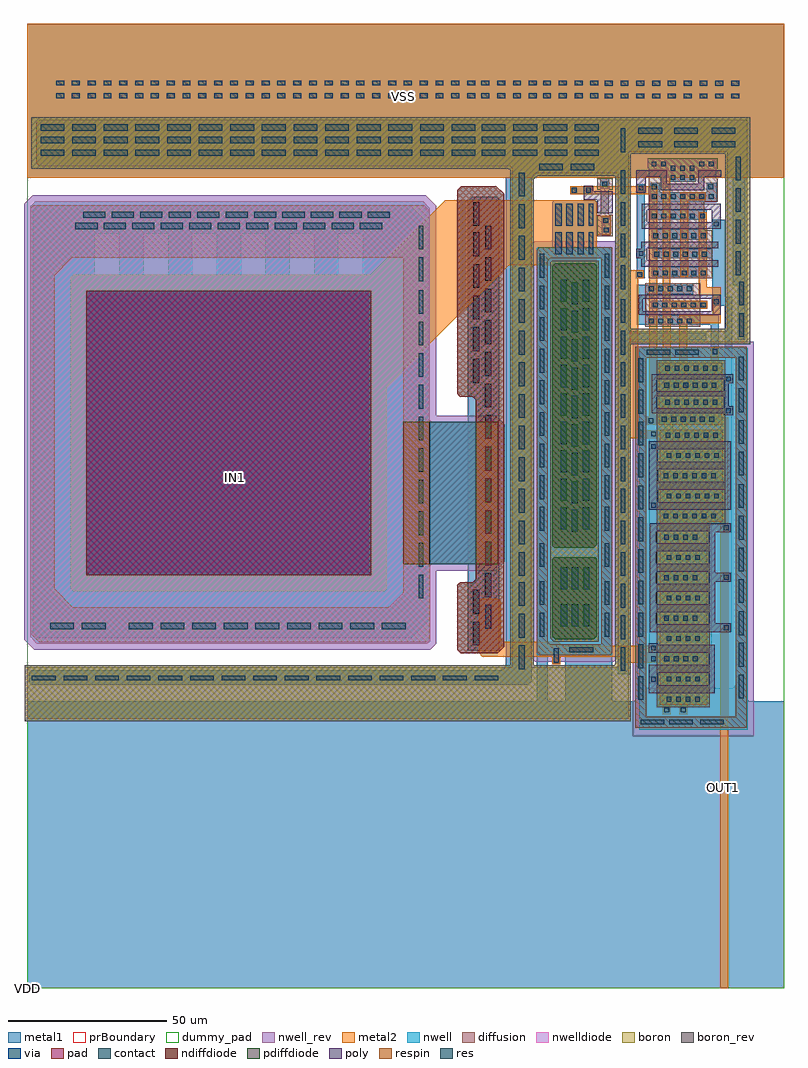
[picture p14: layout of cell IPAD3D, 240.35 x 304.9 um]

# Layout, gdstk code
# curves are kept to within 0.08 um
import gdstk
lib = gdstk.Library(unit=1e-6, precision=1e-09)
def R(c, l, rs):  # rectangles x0, y0, x1, y1
    for r in rs: c.add(gdstk.rectangle(r[:2], r[2:], *l))
def A(c, l, x, y, w, h, nx, ny, dx, dy):  # array of equal rectangles
    R(c, l, [(x+i*dx, y+j*dy, x+i*dx+w, y+j*dy+h) for i in range(nx) for j in range(ny)])
def P(c, l, *ps):  # polygons
    for p in ps: c.add(gdstk.Polygon(p, *l))
nwell = (1, 0)
diffusion = (2, 0)
nwell_rev = (3, 0)
poly = (4, 0)
boron = (5, 0)
boron_rev = (6, 0)
contact = (7, 0)
metal1 = (8, 0)
via = (9, 0)
metal2 = (10, 0)
pad = (11, 0)
prBoundary = (28, 0)
res = (35, 0)
respin = (36, 0)
pdiffdiode = (37, 0)
nwelldiode = (38, 0)
ndiffdiode = (39, 0)
dummy_pad = (40, 0)

ipad3d = lib.new_cell('IPAD3D')
R(ipad3d, nwell, [(193.6,81.65,227.9,202.35)])
P(ipad3d, nwell, [(161.5,105.25),(161.15,105.6),(161.15,233.95),(161.45,234.25),(185,234.25),(185.15,234.1),(185.15,105.6),(184.8,105.25)],
  [(3.15,108.95),(1.05,111.05),(1.05,247.25),(2.6,248.8),(125.25,248.8),(127.4,246.65),(127.4,179.652),(128.002,179.05),(147.45,179.05),(149.1,177.4),(149.1,135.7),(147.45,134.05),(128.058,134.05),(127.45,133.442),(127.45,109.75),(126.65,108.95)])
R(ipad3d, diffusion, [(199.8,178.1,219.8,197.8), (195.45,209.2,212.95,222.9)])
P(ipad3d, diffusion, [(200.1,89.6),(200.1,176.6),(220.1,176.6),(220.1,147.5),(215.1,147.5),(215.1,89.6)],
  [(162.101,105.25),(161.15,106.201),(161.15,233.344),(162.056,234.25),(181.65,234.25),(181.65,230.75),(165.536,230.75),(164.65,229.864),(164.65,109.515),(165.415,108.75),(181.395,108.75),(181.65,109.005),(181.65,234.25),(184.95,234.25),(185.15,234.05),(185.15,106.052),(184.348,105.25)],
  [(3.95,109.3),(1.05,112.2),(1.05,246.563),(2.037,247.55),(119,247.55),(119,231),(14.214,231),(8.7,225.486),(8.7,126.204),(14.404,120.5),(114.449,120.5),(119,125.051),(119,247.55),(125.563,247.55),(127.35,245.763),(127.35,109.952),(126.698,109.3)],
  [(137.101,105.95),(136.1,106.951),(136.1,127.549),(136.951,128.4),(140.987,128.4),(141.85,129.263),(141.85,185.999),(140.849,187),(136.906,187),(136,187.906),(136,252.285),(137.365,253.65),(148.4,253.65),(150.9,251.15),(150.9,108.002),(148.848,105.95)],
  [(192.35,82.35),(192.35,202.8),(224.15,202.8),(224.15,199.3),(195.85,199.3),(195.85,85.85),(224.15,85.85),(224.15,202.8),(227.65,202.8),(227.65,82.35)],
  [(0,85.15),(0,101.45),(153.45,101.45),(153.45,259.248),(152.848,259.85),(3.814,259.85),(2.85,260.814),(2.85,273.45),(4.05,274.65),(186.75,274.65),(186.75,257.65),(160.704,257.65),(159.55,256.496),(159.552,101.45),(186.295,101.45),(186.75,101.905),(186.75,274.65),(221.5,274.65),(221.5,264.55),(190.25,264.55),(190.25,207.7),(221.5,207.7),(221.5,274.65),(227.8,274.65),(227.8,204.3),(190.25,204.3),(190.25,85.15)],
  [(167.105,110.25),(166.15,111.205),(166.15,135.6),(166.8,136.25),(179.65,136.25),(180.15,135.75),(180.15,111.15),(179.25,110.25)],
  [(166.752,139.25),(166.15,139.852),(166.15,228.35),(167.05,229.25),(179.448,229.25),(180.15,228.548),(180.15,140.156),(179.244,139.25)],
  [(196.65,224.4),(196.65,259.25),(196.25,259.25),(196.25,262.35),(218.45,262.35),(218.45,259.15),(217.95,259.15),(217.95,255.9),(218.45,255.9),(218.45,248.6),(214.15,248.6),(214.15,239.7),(216.65,239.7),(216.65,224.4)],
  [(180.3,237.75),(180.3,244.5),(181.5,244.5),(181.5,252.5),(180.3,252.5),(180.3,256.05),(185.2,256.05),(185.2,252.5),(184,252.5),(184,244.5),(185.2,244.5),(185.2,237.75)])
R(ipad3d, nwell_rev, [(191.6,79.65,229.9,204.35)])
P(ipad3d, nwell_rev, [(160.672,103.25),(159.15,104.772),(159.15,234.778),(160.622,236.25),(185.828,236.25),(187.15,234.928),(187.15,104.772),(185.628,103.25)],
  [(2.322,106.95),(-0.95,110.222),(-0.95,248.078),(1.772,250.8),(126.078,250.8),(129.4,247.478),(129.4,181.05),(148.278,181.05),(151.1,178.228),(151.1,134.872),(148.278,132.05),(129.45,132.05),(129.45,108.922),(127.478,106.95)])
P(ipad3d, poly, [(197,112.5),(197,147),(215.6,147),(215.6,144.5),(199.05,144.5),(199.05,140.6),(215.6,140.6),(215.6,138.1),(199.05,138.1),(199.05,134.2),(215.6,134.2),(215.6,131.7),(199.05,131.7),(199.05,127.8),(215.6,127.8),(215.6,125.3),(199.05,125.3),(199.05,121.4),(215.6,121.4),(215.6,118.9),(199.05,118.9),(199.05,115),(215.6,115),(215.6,147),(222.6,147),(222.6,144.1),(217.6,144.1),(217.6,131.35),(222.6,131.35),(222.6,128.45),(217.6,128.45),(217.6,115.4),(222.6,115.4),(222.6,112.5)],
  [(196.6,93.3),(196.6,102.2),(215.6,102.2),(215.6,99.7),(199.6,99.7),(199.6,95.8),(215.6,95.8),(215.6,106.1),(196.65,106.1),(196.65,109),(199.55,109),(199.55,108.6),(217.5,108.6),(217.5,93.3)],
  [(220.4,181.1),(220.4,181.8),(197.55,181.8),(197.55,194.1),(220.4,194.1),(220.4,192.6),(199.1,192.6),(199.1,188.7),(220.4,188.7),(220.4,187.2),(199.1,187.2),(199.1,183.3),(220.4,183.3),(220.4,194.1),(223.3,194.1),(223.3,191.2),(221.9,191.2),(221.9,184),(223.3,184),(223.3,181.1)],
  [(196.65,151.2),(196.65,172.9),(220.6,172.9),(220.6,170.4),(199.55,170.4),(199.55,166.5),(220.6,166.5),(220.6,164),(199.6,164),(199.6,160.1),(220.6,160.1),(220.6,157.6),(199.6,157.6),(199.6,153.7),(220.6,153.7),(220.6,172.9),(222.6,172.9),(222.6,151.2)],
  [(193.4,212.9),(193.4,219.2),(216.5,219.2),(216.5,218),(194.75,218),(194.75,214.1),(216.5,214.1),(216.5,219.2),(219.4,219.2),(219.4,212.9)],
  [(180.3,245),(180.3,249.3),(176.1,249.3),(176.1,253.8),(179,253.8),(179,252),(185.2,252),(185.2,245)],
  [(192.7,251.55),(192.7,258.65),(202.35,258.65),(202.35,254.3),(212.25,254.3),(212.25,258.65),(219.6,258.65),(219.6,256.65),(214.25,256.65),(214.25,252.3),(200.35,252.3),(200.35,256.65),(195.6,256.65),(195.6,251.55)],
  [(194.45,240.2),(194.45,248.1),(216.5,248.1),(216.5,246.1),(196.15,246.1),(196.15,242.2),(216.5,242.2),(216.5,248.1),(219.4,248.1),(219.4,240.2)],
  [(194.3,228.1),(194.3,230.85),(192.7,230.85),(192.7,233.75),(194.3,233.75),(194.3,236),(218.55,236),(218.55,234),(196.15,234),(196.15,230.1),(218.55,230.1),(218.55,228.1)])
P(ipad3d, boron, [(199.1,88.85),(199.1,198.5),(220.8,198.5),(220.8,146.75),(215.85,146.75),(215.85,88.85)],
  [(166.6,109.55),(165.45,110.7),(165.45,229.5),(165.9,229.95),(180.85,229.95),(180.85,109.55)],
  [(-0.7,84.45),(-0.7,102.15),(152.75,102.15),(152.75,258.6),(152.2,259.15),(1.4,259.15),(1.4,275.45),(186.05,275.45),(186.05,256.95),(161.451,256.95),(160.25,255.749),(160.25,102.15),(185.7,102.15),(186.05,102.5),(186.05,275.45),(220.75,275.45),(220.75,263.85),(190.95,263.85),(190.95,208.5),(220.75,208.5),(220.75,275.45),(228.65,275.45),(228.65,203.6),(190.95,203.6),(190.95,84.45)])
P(ipad3d, boron_rev, [(199.1,88.85),(199.1,198.5),(220.8,198.5),(220.8,146.75),(215.85,146.75),(215.85,88.85)],
  [(166.6,109.55),(165.45,110.7),(165.45,229.5),(165.9,229.95),(180.85,229.95),(180.85,109.55)],
  [(-0.7,84.45),(-0.7,102.15),(152.75,102.15),(152.75,258.6),(152.2,259.15),(1.4,259.15),(1.4,275.45),(186.05,275.45),(186.05,256.95),(161.451,256.95),(160.25,255.749),(160.25,102.15),(185.7,102.15),(186.05,102.5),(186.05,275.45),(220.75,275.45),(220.75,263.85),(190.95,263.85),(190.95,208.5),(220.75,208.5),(220.75,275.45),(228.65,275.45),(228.65,203.6),(190.95,203.6),(190.95,84.45)])
A(ipad3d, contact, 202.3, 90.6, 1.5, 1.5, 4, 2, 3, 6.4)
A(ipad3d, contact, 1.55, 97.3, 7.5, 1.5, 15, 1, 10, 0)
A(ipad3d, contact, 187.75, 100.35, 1.5, 7.5, 1, 12, 0, 10)
A(ipad3d, contact, 155.45, 100.85, 2, 7.5, 1, 3, 0, 10)
A(ipad3d, contact, 204.55, 103.4, 1.5, 1.5, 3, 1, 3, 0)
A(ipad3d, contact, 202.3, 109.8, 1.5, 1.5, 4, 3, 3, 12.8)
A(ipad3d, contact, 32.25, 113.55, 7.5, 2, 9, 1, 10, 0)
A(ipad3d, contact, 168.85, 114.4, 2, 7, 3, 2, 3.5, 11.75)
A(ipad3d, contact, 204.5, 116.2, 1.5, 1.5, 3, 3, 3, 12.8)
A(ipad3d, contact, 123.85, 123.25, 1.5, 7.5, 1, 10, 0, 10)
A(ipad3d, contact, 144.85, 123.65, 2, 7.5, 1, 12, 0, 10)
A(ipad3d, contact, 155.45, 130.35, 2, 7.5, 1, 13, 0, 10)
A(ipad3d, contact, 172.25, 144.25, 2, 7, 1, 9, 0, 9)
A(ipad3d, contact, 162.15, 144.65, 1.5, 7.5, 1, 9, 0, 10)
A(ipad3d, contact, 182.65, 144.65, 1.5, 7.5, 1, 9, 0, 10)
A(ipad3d, contact, 168.75, 145.05, 2, 7, 1, 9, 0, 9)
A(ipad3d, contact, 175.75, 145.05, 2, 7, 1, 9, 0, 9)
A(ipad3d, contact, 201.35, 148.5, 1.5, 1.5, 4, 2, 3, 12.8)
A(ipad3d, contact, 202.3, 154.9, 1.5, 1.5, 6, 2, 3, 12.8)
A(ipad3d, contact, 202, 174.1, 1.5, 1.5, 4, 1, 3, 0)
A(ipad3d, contact, 209.8, 179.1, 1.5, 1.5, 3, 1, 3, 0)
A(ipad3d, contact, 201.8, 184.5, 1.5, 1.5, 6, 2, 3, 10.8)
A(ipad3d, contact, 210.55, 189.9, 1.5, 1.5, 3, 1, 3, 0)
A(ipad3d, contact, 141.05, 191.45, 2, 7.5, 1, 5, 0, 10)
A(ipad3d, contact, 196.65, 210.2, 1.5, 1.5, 5, 2, 3, 10.2)
A(ipad3d, contact, 197.95, 215.3, 1.5, 1.5, 5, 1, 3, 0)
A(ipad3d, contact, 187.75, 221.05, 1.5, 7.5, 1, 3, 0, 10)
A(ipad3d, contact, 198.1, 225.4, 1.5, 1.5, 3, 2, 3, 11.8)
A(ipad3d, contact, 224.2, 225.45, 1.5, 7.5, 1, 4, 0, 10)
A(ipad3d, contact, 198.4, 231.3, 1.5, 1.5, 6, 1, 3, 0)
A(ipad3d, contact, 15.3, 240.05, 7, 2, 11, 1, 9, 0)
A(ipad3d, contact, 197.65, 243.4, 1.5, 1.5, 5, 2, 3, 6.2)
A(ipad3d, contact, 17.8, 243.55, 7, 2, 10, 1, 9, 0)
A(ipad3d, contact, 203.55, 255.55, 1.5, 1.5, 3, 2, 3, 3)
A(ipad3d, contact, 4.3, 263.15, 7.5, 2, 14, 3, 10, 4)
A(ipad3d, contact, 143.8, 263.15, 7.5, 2, 1, 3, 0, 4)
A(ipad3d, contact, 173.3, 263.15, 7.5, 2, 1, 3, 0, 4)
R(ipad3d, contact, [(194.05,83.35,201.55,84.85), (203.05,83.35,210.55,84.85), (212.85,83.35,220.35,84.85), (193.35,91.1,194.85,98.6), (225.15,91.6,226.65,99.1), (197.4,96.9,198.9,98.4), (193.35,101.15,194.85,108.65), (225.15,101.65,226.65,109.15), (171.55,106.25,179.05,107.75), (197.35,106.8,198.85,108.3), (141.05,108.4,143.05,115.9), (162.15,111.15,163.65,118.65), (182.65,111.15,184.15,118.65), (193.35,111.15,194.85,118.65), (225.15,111.65,226.65,119.15), (220.4,113.2,221.9,114.7), (7.35,113.55,14.85,115.55), (17.35,113.55,24.85,115.55), (141.05,118.45,143.05,125.95), (162.15,121.15,163.65,128.65), (182.65,121.15,184.15,128.65), (193.35,121.3,194.85,128.8), (225.15,121.8,226.65,129.3), (220.4,129.15,221.9,130.65), (193.35,131.3,194.85,138.8), (225.15,131.8,226.65,139.3), (162.15,133.2,163.65,140.7), (182.65,133.2,184.15,140.7), (193.35,141.35,194.85,148.85), (225.15,141.85,226.65,149.35), (220.4,144.8,221.9,146.3), (216.35,148.5,217.85,150), (193.35,151.35,194.85,158.85), (225.15,151.85,226.65,159.35), (197.35,151.9,198.85,153.4), (216.35,161.3,217.85,162.8), (193.35,161.6,194.85,169.1), (225.15,162.1,226.65,169.6), (197.35,170.55,198.85,172.05), (193.35,171.6,194.85,179.1), (225.15,172.1,226.65,179.6), (217,174.1,218.5,175.6), (200.8,179.1,202.3,180.6), (203.8,179.1,205.3,180.6), (193.35,181.65,194.85,189.15), (221.1,181.8,222.6,183.3), (225.15,182.15,226.65,189.65), (201.55,189.9,203.05,191.4), (204.55,189.9,206.05,191.4), (193.35,191.65,194.85,199.15), (221.1,191.9,222.6,193.4), (225.15,192.15,226.65,199.65), (195.95,200.3,203.45,201.8), (204.95,200.3,212.45,201.8), (225.2,205.9,226.7,213.4), (225.2,215.9,226.7,223.4), (217.2,216.3,218.7,217.8), (123.85,223.6,125.35,231.1), (210.1,225.4,211.6,226.9), (213.1,225.4,214.6,226.9), (193.4,231.55,194.9,233.05), (123.85,233.6,125.35,241.1), (210.1,237.2,211.6,238.7), (213.1,237.2,214.6,238.7), (217.2,240.9,218.7,242.4), (141.05,241.05,143.05,248.55), (182.3,242,183.8,243.5), (107.8,243.55,114.7,245.55), (215.65,249.6,217.15,251.1), (187.75,251.15,189.25,258.65), (176.8,251.55,178.3,253.05), (193.4,252.25,194.9,253.75), (197.65,252.65,199.15,254.15), (215.45,252.7,216.95,254.2), (181.95,253.5,183.45,255), (161.95,258.65,169.45,260.65), (171.95,258.65,179.45,260.65), (197.55,259.85,199.05,261.35), (200.55,259.85,202.05,261.35), (212.65,259.85,214.15,261.35), (215.65,259.85,217.15,261.35), (153.65,263.15,161.3,265.15), (163.8,263.15,170.8,265.15), (187.75,264.35,189.25,271.85), (193.35,265.85,200.85,267.85), (204.65,265.85,212.15,267.85), (216.5,265.85,224,267.85), (153.65,267.15,161.3,269.15), (163.8,267.15,170.8,269.15), (193.35,270.1,200.85,272.1), (204.65,270.1,212.15,272.1), (216.5,270.1,224,272.1), (153.8,271.15,161.3,273.15), (163.3,271.15,170.8,273.15)])
R(ipad3d, metal1, [(0,0,239.4,90.7), (201.05,102.9,212.55,105.8), (201,115.25,212.5,118.2), (201,127.95,212.5,131), (201,140.65,212.5,143.8), (200.85,160.3,218.4,163.3), (201.5,172.95,219,176.1), (195,178.15,198.6,180.65), (200.3,178.15,217.8,181.1), (201.05,189,218.55,191.9), (197.45,214.8,215.15,217.3), (197.6,224.9,215.1,228.05), (197.6,236.7,215.1,240.05), (181.7,237.9,184.6,244), (197.15,242.9,214.9,246.15), (171.85,251.05,178.8,253.55), (181.25,252.8,184.15,256.35), (0,256.2,239.4,304.9)])
P(ipad3d, metal1, [(1.352,95.85),(0.75,96.452),(0.75,99.898),(1.352,100.5),(150.25,100.5),(151.35,101.6),(151.35,256.2),(0,256.2),(0,304.9),(239.4,304.9),(239.4,256.2),(227.2,256.2),(227.2,205),(224.7,205),(224.7,222.2),(223.2,222.2),(223.2,256.2),(211.55,256.2),(211.55,255),(203.05,255),(203.05,256.2),(190.95,256.2),(190.95,207.3),(214.8,207.3),(214.8,204.8),(190.95,204.8),(190.95,99.3),(190.85,99.2),(186.85,99.2),(186.75,99.3),(186.75,255.344),(185.894,256.2),(160.252,256.2),(159.55,255.498),(159.55,97.066),(158.334,95.85)],
  [(219.9,112.7),(219.9,153.7),(201.6,153.7),(201.6,156.9),(219.95,156.9),(219.95,166.5),(201.6,166.5),(201.6,169.7),(220.6,169.7),(220.6,215.8),(216.7,215.8),(216.7,230.8),(197.9,230.8),(197.9,233.75),(216.7,233.75),(216.7,242.9),(220.8,242.9),(220.8,218.7),(223.1,218.7),(223.1,112.7)],
  [(2.45,110.8),(1.75,111.5),(1.75,245.949),(3.351,247.55),(29.2,247.55),(29.2,238.55),(21.5,238.55),(21.5,225.55),(29.2,225.55),(29.2,247.55),(44.6,247.55),(44.6,238.55),(36.9,238.55),(36.9,225.55),(44.6,225.55),(44.6,247.55),(60,247.55),(60,238.55),(52.3,238.55),(52.3,225.55),(60,225.55),(60,247.55),(75.4,247.55),(75.4,238.55),(67.7,238.55),(67.7,225.55),(75.4,225.55),(75.4,247.55),(90.8,247.55),(90.8,238.55),(83.1,238.55),(83.1,225.55),(90.8,225.55),(90.8,247.55),(106.2,247.55),(106.2,238.55),(98.5,238.55),(98.5,225.55),(106.2,225.55),(106.2,247.55),(121.25,247.55),(127.4,241.4),(127.4,214),(127.3,214),(127.35,116.437),(121.713,110.8)],
  [(139.35,106.65),(139.35,248.785),(140.815,250.25),(148.548,250.25),(149.35,249.448),(149.35,106.65)],
  [(196.85,96.4),(196.85,176.45),(199.35,176.45),(199.35,102.9),(199.4,102.9),(199.4,96.4)],
  [(201.8,96.5),(201.8,99.6),(214.05,99.6),(214.05,109.3),(201.8,109.3),(201.8,112.75),(214.05,112.75),(214.05,121.65),(201.8,121.65),(201.8,124.6),(214.05,124.6),(214.05,134.2),(201.8,134.2),(201.8,137.4),(214.05,137.4),(214.05,147.35),(200.85,147.35),(200.85,150.5),(218.35,150.5),(218.35,147.55),(216.55,147.55),(216.55,96.5)],
  [(0,0),(0,90.7),(160.689,90.7),(161.15,91.161),(161.15,233.85),(161.55,234.25),(164.197,234.25),(164.65,233.797),(164.65,91.05),(165,90.7),(169.7,90.7),(170.15,91.15),(170.15,108.248),(170.652,108.75),(181.395,108.75),(181.65,109.005),(181.65,233.847),(182.053,234.25),(184.8,234.25),(185.15,233.9),(185.15,91.202),(185.652,90.7),(191.949,90.7),(192.85,91.601),(192.85,202.3),(213.35,202.3),(213.35,199.8),(195.35,199.8),(195.35,95.755),(196.205,94.9),(223.299,94.9),(224.65,96.251),(224.65,201.55),(227.15,201.55),(227.15,92.001),(228.451,90.7),(239.4,90.7),(239.4,0)],
  [(166.15,102.35),(166.15,135.394),(166.157,135.412),(166.237,135.531),(166.956,136.25),(179.348,136.25),(180.15,135.448),(180.15,111.27),(179.13,110.25),(169.601,110.25),(168.65,109.299),(168.65,102.35)],
  [(166.75,139.25),(166.15,139.85),(166.15,248.498),(166.802,249.15),(179.747,249.15),(180.115,248.782),(180.15,248.697),(180.15,140.156),(179.244,139.25)],
  [(196.9,183.3),(196.9,197.3),(216.3,197.3),(216.3,209.7),(192.9,209.7),(192.9,222.4),(210.65,222.4),(210.65,219.35),(195.9,219.35),(195.9,212.85),(218.8,212.85),(218.8,194.35),(199.5,194.35),(199.5,186.5),(218.8,186.5),(218.8,183.3)],
  [(192.45,224.4),(192.45,226.95),(192.9,226.95),(192.9,254.25),(195.4,254.25),(195.4,224.4)],
  [(197.15,248.55),(197.15,254.65),(200.05,254.65),(200.05,251.6),(214.9,251.6),(214.9,254.7),(218.15,254.7),(218.15,248.55)])
A(ipad3d, via, 201.5, 116.2, 1.5, 1.5, 1, 3, 0, 12.8)
A(ipad3d, via, 182.7, 281.4, 2.5, 1.5, 9, 2, 5, 4)
A(ipad3d, via, 9.2, 281.45, 2.5, 1.5, 27, 2, 5, 4)
A(ipad3d, via, 143.7, 281.45, 2.5, 1.5, 4, 2, 5, 4)
A(ipad3d, via, 163.2, 281.45, 2.5, 1.5, 4, 2, 5, 4)
R(ipad3d, via, [(201.55,87.15,203.05,88.65), (206.8,87.15,208.3,88.65), (166.65,102.85,168.15,107.5), (197.35,103.4,198.85,104.9), (201.55,103.4,203.05,104.9), (144.85,113.65,146.85,121.15), (18.8,130.55,108.8,220.55), (213.35,148.5,214.85,150), (213.35,161.3,214.85,162.8), (214,174.1,215.5,175.6), (197.35,174.45,198.85,175.95), (196.6,178.65,198.1,180.15), (206.8,179.1,208.3,180.6), (207.55,189.9,209.05,191.4), (216.8,200.5,218.3,202), (213.15,215.3,214.65,216.8), (193,224.9,194.5,226.4), (207.1,225.4,208.6,226.9), (167.05,232.05,169.05,239.05), (170.6,232.05,172.6,239.05), (174.1,232.05,176.1,239.05), (177.6,232.05,179.1,239.05), (207.1,237.2,208.6,238.7), (182.45,239,183.95,240.5), (167.05,241.05,169.05,248.05), (170.6,241.05,172.6,248.05), (174.1,241.05,176.1,248.05), (177.6,241.05,179.1,248.05), (212.9,243.4,214.4,244.9), (212.65,249.6,214.15,251.1), (172.35,251.55,173.85,253.05)])
R(ipad3d, metal2, [(219.25,0,221.75,19.45), (201.05,86.65,203.55,105.4), (179.35,238.3,184.65,244.3)])
P(ipad3d, metal2, [(206.6,224.9),(206.6,251.6),(214.65,251.6),(214.65,249.1),(209.1,249.1),(209.1,224.9)],
  [(219.25,19.45),(219.25,177.9),(216.3,177.9),(216.3,202.5),(218.8,202.5),(218.8,180.45),(221.75,180.45),(221.75,19.45)],
  [(14.751,125.55),(13.8,126.501),(13.8,224.7),(14.65,225.55),(108.749,225.55),(132.15,248.951),(132.15,249.15),(179.547,249.15),(180.2,248.497),(180.2,229.8),(179,228.6),(152.298,228.6),(113.8,190.118),(113.8,126.352),(112.998,125.55)],
  [(201,115.3),(201,169.85),(201.75,169.85),(201.75,178.6),(201,178.6),(201,256.2),(0,256.2),(0,304.9),(239.4,304.9),(239.4,256.2),(203.5,256.2),(203.5,217.3),(215.15,217.3),(215.15,214.8),(203.55,214.8),(203.55,181.15),(204.3,181.15),(204.3,167.35),(203.55,167.35),(203.55,115.3)],
  [(206.3,86.65),(206.3,212.85),(216.9,212.85),(216.9,219.15),(212.4,219.15),(212.4,245.4),(214.9,245.4),(214.9,221.65),(219.4,221.65),(219.4,210.3),(208.8,210.3),(208.8,192.05),(209.75,192.05),(209.75,189.15),(208.8,189.15),(208.8,86.65)],
  [(166.15,102.35),(166.15,104.4),(165.7,104.85),(144.05,104.85),(142.8,106.1),(142.8,122.448),(143.402,123.05),(149.15,123.05),(149.8,122.4),(149.8,110.456),(150.706,109.55),(168.05,109.55),(169.202,108.3),(199.35,108.3),(199.35,102.9),(188.902,102.9),(188.35,103.452),(188.35,104.248),(187.848,104.75),(169,104.75),(168.65,104.4),(168.65,102.35)],
  [(190.65,173.95),(190.65,226.95),(195,226.95),(195,224.4),(193.3,224.4),(193.3,176.45),(199.35,176.45),(199.35,173.95)],
  [(196.1,178.15),(196.1,180.65),(196.75,180.65),(196.75,251.05),(171.85,251.05),(171.85,253.55),(199.3,253.55),(199.3,178.15)],
  [(212.85,148),(212.85,176.1),(216.15,176.1),(216.15,173.6),(215.35,173.6),(215.35,148)])
R(ipad3d, pad, [(18.8,130.55,108.8,220.55)])
R(ipad3d, prBoundary, [(0,0,239.4,304.9)])
R(ipad3d, res, [(127.35,134.05,141.85,179.05)])
R(ipad3d, respin, [(119,134.05,127.35,179.05), (141.85,134.05,149.1,179.05)])
P(ipad3d, pdiffdiode, [(167.105,110.25),(166.15,111.205),(166.15,135.6),(166.8,136.25),(179.65,136.25),(180.15,135.75),(180.15,111.15),(179.25,110.25)],
  [(166.752,139.25),(166.15,139.852),(166.15,228.35),(167.05,229.25),(179.448,229.25),(180.15,228.548),(180.15,140.156),(179.244,139.25)])
P(ipad3d, nwelldiode, [(3.15,108.95),(1.05,111.05),(1.05,247.25),(2.6,248.8),(125.25,248.8),(127.4,246.65),(127.4,179.652),(128.002,179.05),(147.45,179.05),(149.1,177.4),(149.1,135.7),(147.45,134.05),(128.058,134.05),(127.45,133.442),(127.45,109.75),(126.65,108.95)])
P(ipad3d, ndiffdiode, [(137.101,105.95),(136.1,106.951),(136.1,127.549),(136.951,128.4),(140.987,128.4),(141.85,129.263),(141.85,185.999),(140.849,187),(136.906,187),(136,187.906),(136,252.285),(137.365,253.65),(148.4,253.65),(150.9,251.15),(150.9,108.002),(148.848,105.95)])
R(ipad3d, dummy_pad, [(0,0,239.4,304.9)])
ipad3d.add(gdstk.Label('OUT1', (220.2,63.45), layer=10, texttype=7))
ipad3d.add(gdstk.Label('VSS', (119,281.8), layer=10, texttype=7))
ipad3d.add(gdstk.Label('IN1', (65.95,161.45), layer=10, texttype=7))
ipad3d.add(gdstk.Label('VDD', (0.001,0.001), layer=8, texttype=7))

lib.write_gds('IPAD3D.gds')
